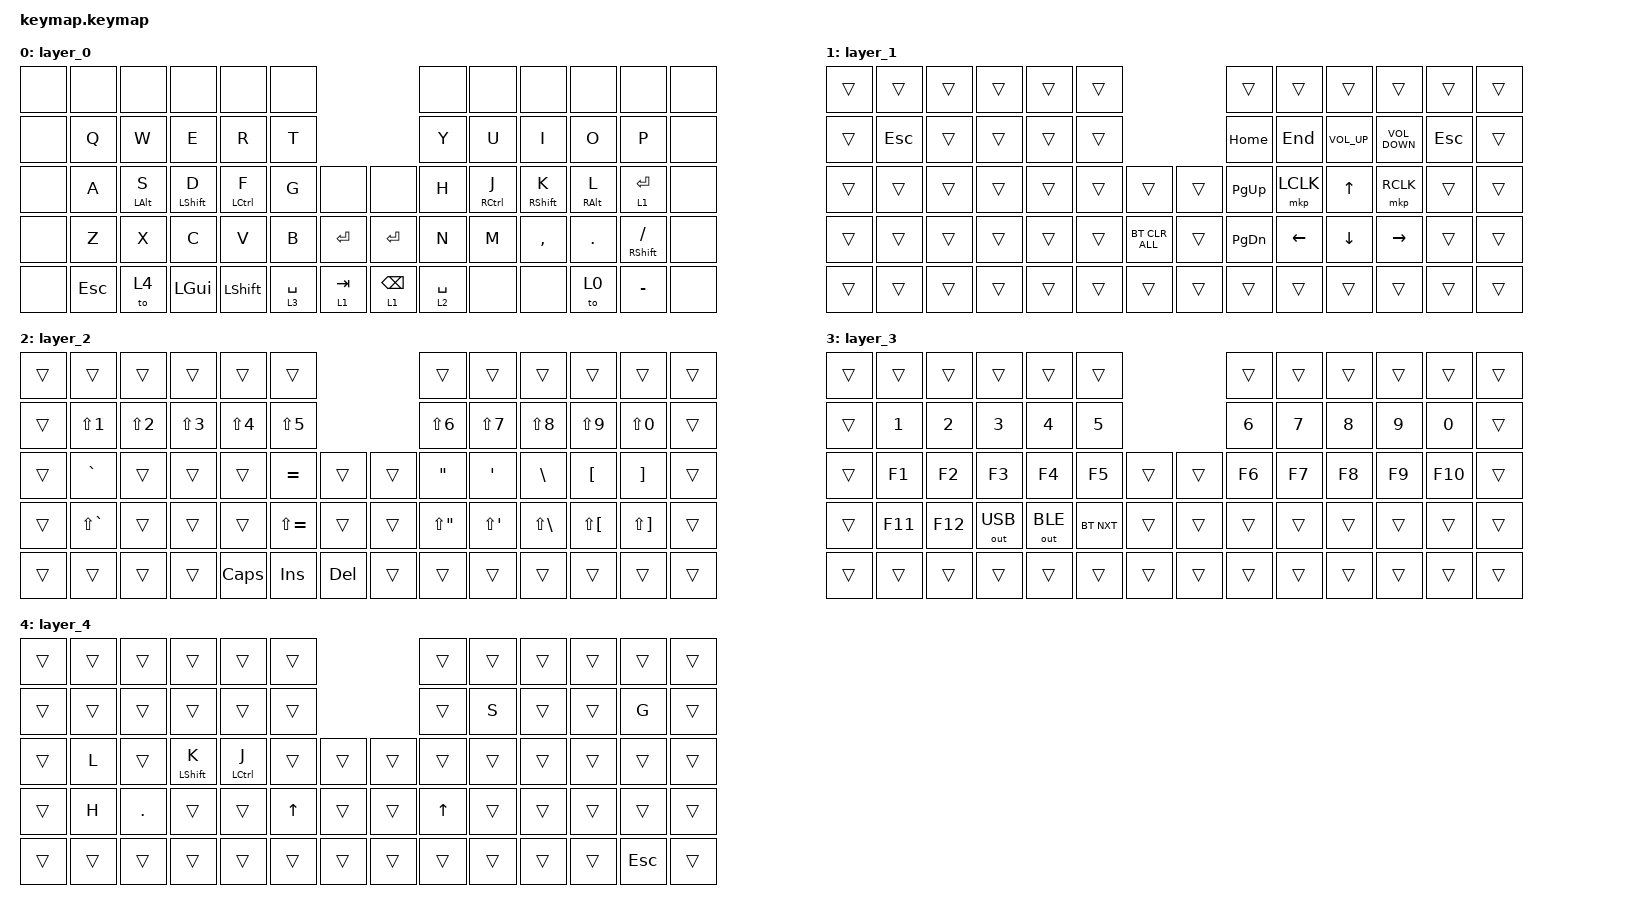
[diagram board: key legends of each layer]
#include <behaviors.dtsi>
#include <dt-bindings/zmk/bt.h>
#include <dt-bindings/zmk/keys.h>
#include <dt-bindings/zmk/outputs.h>
#include <dt-bindings/zmk/pointing.h>

&lt { quick-tap-ms = <200>; };

&mt {
    quick-tap-ms = <200>;
    flavor = "balanced";
};

/ {
    combos {
        compatible = "zmk,combos";

        mb1 {
            bindings = <&mkp MB1>;
            key-positions = <33 34>;
        };

        mb2 {
            bindings = <&mkp MB2>;
            key-positions = <34 35>;
        };

        left_enter {
            bindings = <&kp ENTER>;
            key-positions = <26 27>;
        };
    };

    keymap {
        compatible = "zmk,keymap";

        layer_0 {
            bindings = <
&none  &none       &none           &none             &none           &none                                    &none        &none        &none              &none            &none                 &none
&none  &kp Q       &kp W           &kp E             &kp R           &kp T                                    &kp Y        &kp U        &kp I              &kp O            &kp P                 &none
&none  &kp A       &mt LEFT_ALT S  &mt LEFT_SHIFT D  &mt LCTRL F     &kp G        &none      &none            &kp H        &mt RCTRL J  &mt RIGHT_SHIFT K  &mt RIGHT_ALT L  &lt 1 ENTER           &none
&none  &kp Z       &kp X           &kp C             &kp V           &kp B        &kp ENTER  &kp RET          &kp N        &kp M        &kp COMMA          &kp DOT          &mt RIGHT_SHIFT FSLH  &none
&none  &kp ESCAPE  &to 4           &kp LEFT_GUI      &kp LEFT_SHIFT  &lt 3 SPACE  &lt 1 TAB  &lt 1 BACKSPACE  &lt 2 SPACE  &none        &none              &to 0            &kp MINUS             &none
            >;
        };

        layer_1 {
            bindings = <
&trans  &trans      &trans  &trans  &trans  &trans                          &trans         &trans          &trans           &trans             &trans      &trans
&trans  &kp ESCAPE  &trans  &trans  &trans  &trans                          &kp HOME       &kp END         &kp C_VOLUME_UP  &kp C_VOLUME_DOWN  &kp ESCAPE  &trans
&trans  &trans      &trans  &trans  &trans  &trans  &trans          &trans  &kp PAGE_UP    &mkp LCLK       &kp UP_ARROW     &mkp RCLK          &trans      &trans
&trans  &trans      &trans  &trans  &trans  &trans  &bt BT_CLR_ALL  &trans  &kp PAGE_DOWN  &kp LEFT_ARROW  &kp DOWN_ARROW   &kp RIGHT_ARROW    &trans      &trans
&trans  &trans      &trans  &trans  &trans  &trans  &trans          &trans  &trans         &trans          &trans           &trans             &trans      &trans
            >;
        };

        layer_2 {
            bindings = <
&trans  &trans            &trans            &trans      &trans      &trans                          &trans                 &trans                &trans             &trans                &trans                 &trans
&trans  &kp LS(NUMBER_1)  &kp LS(NUMBER_2)  &kp LS(N3)  &kp LS(N4)  &kp LS(N5)                      &kp LS(N6)             &kp LS(N7)            &kp LS(N8)         &kp LS(N9)            &kp LS(N0)             &trans
&trans  &kp GRAVE         &trans            &trans      &trans      &kp EQUAL      &trans   &trans  &kp DOUBLE_QUOTES      &kp SINGLE_QUOTE      &kp BACKSLASH      &kp LEFT_BRACKET      &kp RIGHT_BRACKET      &trans
&trans  &kp LS(GRAVE)     &trans            &trans      &trans      &kp LS(EQUAL)  &trans   &trans  &kp LS(DOUBLE_QUOTES)  &kp LS(SINGLE_QUOTE)  &kp LS(BACKSLASH)  &kp LS(LEFT_BRACKET)  &kp LS(RIGHT_BRACKET)  &trans
&trans  &trans            &trans            &trans      &kp CAPS    &kp INS        &kp DEL  &trans  &trans                 &trans                &trans             &trans                &trans                 &trans
            >;
        };

        layer_3 {
            bindings = <
&trans  &trans   &trans   &trans        &trans        &trans                      &trans  &trans  &trans  &trans  &trans   &trans
&trans  &kp N1   &kp N2   &kp N3        &kp N4        &kp N5                      &kp N6  &kp N7  &kp N8  &kp N9  &kp N0   &trans
&trans  &kp F1   &kp F2   &kp F3        &kp F4        &kp F5      &trans  &trans  &kp F6  &kp F7  &kp F8  &kp F9  &kp F10  &trans
&trans  &kp F11  &kp F12  &out OUT_USB  &out OUT_BLE  &bt BT_NXT  &trans  &trans  &trans  &trans  &trans  &trans  &trans   &trans
&trans  &trans   &trans   &trans        &trans        &trans      &trans  &trans  &trans  &trans  &trans  &trans  &trans   &trans
            >;
        };

        layer_4 {
            bindings = <
&trans  &trans  &trans      &trans            &trans       &trans                        &trans        &trans  &trans  &trans  &trans      &trans
&trans  &trans  &trans      &trans            &trans       &trans                        &trans        &kp S   &trans  &trans  &kp G       &trans
&trans  &kp L   &trans      &mt LEFT_SHIFT K  &mt LCTRL J  &trans        &trans  &trans  &trans        &trans  &trans  &trans  &trans      &trans
&trans  &kp H   &kp PERIOD  &trans            &trans       &kp UP_ARROW  &trans  &trans  &kp UP_ARROW  &trans  &trans  &trans  &trans      &trans
&trans  &trans  &trans      &trans            &trans       &trans        &trans  &trans  &trans        &trans  &trans  &trans  &kp ESCAPE  &trans
            >;
        };
    };
};
